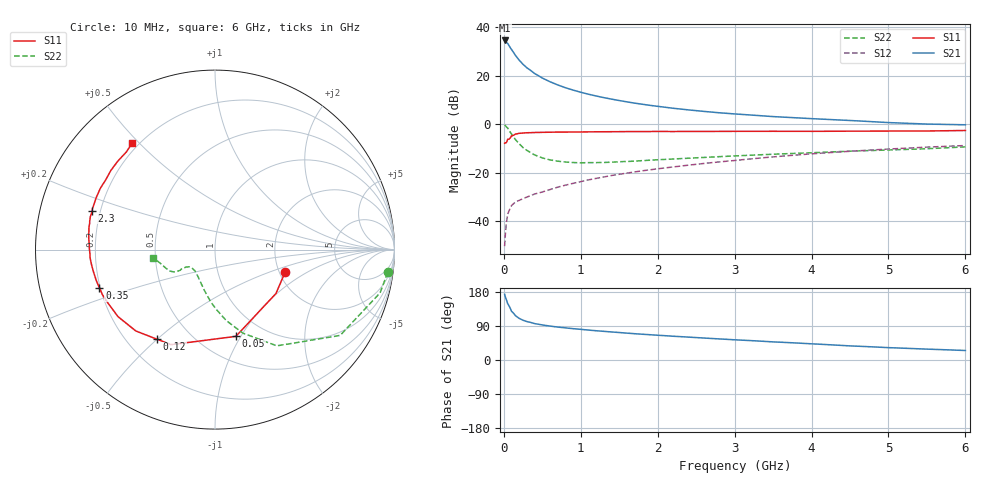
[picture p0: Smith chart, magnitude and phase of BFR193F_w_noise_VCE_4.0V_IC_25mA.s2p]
! (c) 2017  Infineon Technologies AG, Munich
! Infineon Technologies  Discrete & RF Semiconductors
! BFR193F
! VCE =  4.0 V,  IC =  25 mA
! Common Emitter S-Parameters:  Jan 2017
# GHz  S  MA  R  50
!  f  S11  S21  S12  S22
! GHz  MAG  ANG  MAG  ANG  MAG  ANG  MAG  ANG
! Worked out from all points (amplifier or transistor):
!   77 points, 10 MHz to 6 GHz, reference 50 ohm
!   highest |S21| = 34.6 dB at 10 MHz (marker M1)
!   |S21| within 3 dB of that: start of sweep to 84.27 MHz
!   unconditionally stable (mu >= 1): 1.169 GHz to 2.706 GHz
!   at 130 MHz: K = 0.34, MSG = 31.0 dB, |S12| = -32.5 dB
!   at 2.2 GHz: K = 1.03, MAG = 11.1 dB, |S12| = -17.5 dB
!   at 6 GHz: K = 0.86, MSG = 4.3 dB, |S12| = -8.7 dB
!   lowest NFmin = 1.11 dB at 450 MHz
!   S11 on the Smith chart (normalised r, x): 10 MHz: 2.15, -0.65; 50 MHz: 0.74, -0.95; 120 MHz: 0.32, -0.50; 350 MHz: 0.20, -0.15; 2.3 GHz: 0.17, +0.15; 6 GHz: 0.17, +0.48
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0.01  0.4106 -17.8  54 173.3  0.0031 85.1  0.9709 -7.5
0.02  0.4186 -35.8  52.61 166.2  0.0055 83.3  0.9508 -14.7
0.05  0.4972 -76.5  46.82 148.6  0.0141 64.4  0.8458 -34.4
0.1  0.5833 -114.8  35.09 128.5  0.0213 52.9  0.6371 -57.3
0.12  0.5946 -122.9  31.58 124.7  0.0228 50.7  0.5746 -62.1
0.15  0.6325 -134.2  26.67 117.1  0.0252 47.9  0.4909 -71.5
0.2  0.6569 -145.3  21.13 109.8  0.0273 48.0  0.4001 -81.0
0.25  0.666 -153.1  17.35 104.9  0.0296 47.5  0.3337 -88.7
0.3  0.6757 -158.1  14.73 101.4  0.0319 49.4  0.2921 -94.7
0.35  0.6782 -161.7  12.96 99.1  0.0343 51.2  0.263 -99.0
0.4  0.6834 -165.3  11.23 96.0  0.0368 52.7  0.2357 -104.4
0.5  0.6886 -169.8  9.071 92.5  0.0406 54.9  0.2048 -112.0
0.6  0.6932 -173.2  7.606 89.5  0.0455 58.1  0.1863 -118.4
0.8  0.6972 -178.3  5.731 84.8  0.0561 62.8  0.1685 -128.4
1.1  0.7042 176.0  4.209 79.0  0.0722 66.3  0.1635 -137.5
1.5  0.7118 170.8  3.117 72.5  0.094 68.9  0.1706 -144.7
2.1  0.7174 164.3  2.263 64.1  0.1275 70.2  0.1907 -149.0
2.3  0.718 162.4  2.08 61.6  0.139 70.4  0.1979 -149.4
3.1  0.7224 155.5  1.611 52.3  0.1877 69.9  0.2285 -149.4
4.1  0.7233 146.5  1.297 41.7  0.2545 66.5  0.2653 -152.3
5.1  0.7323 136.4  1.08 31.9  0.3174 61.2  0.3016 -162.3
6  0.7525 127.8  0.985 25.1  0.3681 56.0  0.3458 -172.3
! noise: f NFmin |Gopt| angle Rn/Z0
0.45  1.11  0.36  173  0.06
0.9  1.19  0.41  174  0.06
1.9  1.77  0.57  -169  0.07
2.4  2.06  0.61  -160  0.11
